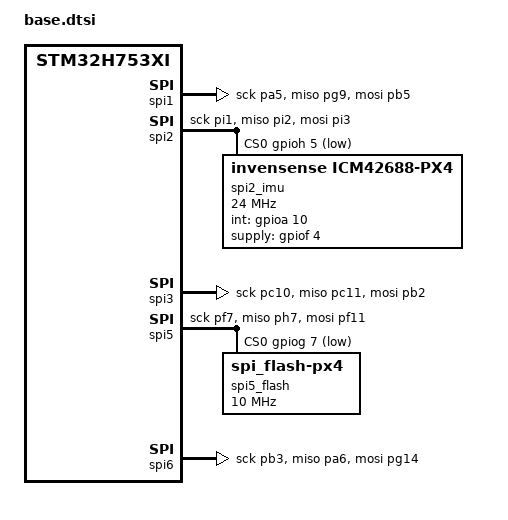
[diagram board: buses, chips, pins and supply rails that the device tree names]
/* Copyright (c) 2023 PX4 Development Team
 * SPDX-License-Identifier: BSD-3-Clause
 */

#include <st/h7/stm32h753Xi.dtsi>
#include <st/h7/stm32h753iikx-pinctrl.dtsi>

/ {
	compatible = "px4,fmu-v6x";

	chosen {
	/*
		px4,console = &usart3;
		px4,canbus = &can1;
	*/
	};
};



&spi1 {
	status = "okay";
	pinctrl-0 = <&spi1_sck_pa5 &spi1_miso_pg9 &spi1_mosi_pb5>;
	pinctrl-names = "default";
	cs-gpios = <&gpioi 9 GPIO_ACTIVE_LOW>;
	/* CS is shared, but devices depend on board versions */
};

&spi2 {
	status = "okay";
	pinctrl-0 = <&spi2_sck_pi1 &spi2_miso_pi2 &spi2_mosi_pi3>;
	pinctrl-names = "default";
	cs-gpios = <&gpioh 5 GPIO_ACTIVE_LOW>;

	spi2_imu: icm42688@0 {
		status = "okay";
		compatible = "invensense,icm42688-px4";
		spi-max-frequency = <24000000>;
		reg = <0>;
		int-gpios = <&gpioa 10 GPIO_ACTIVE_HIGH>;
		supply-gpios = <&gpiof 4 GPIO_ACTIVE_HIGH>;
	};
};

&spi3 {
	status = "okay";
	pinctrl-0 = <&spi3_sck_pc10 &spi3_miso_pc11 &spi3_mosi_pb2>;
	pinctrl-names = "default";
	cs-gpios = <&gpioi 8 GPIO_ACTIVE_LOW>,
			   <&gpioi 4 GPIO_ACTIVE_LOW>;
	/* board versions have different devices connected to this SPI */
};

&spi5 {
	status = "okay";
	pinctrl-0 = <&spi5_sck_pf7 &spi5_miso_ph7 &spi5_mosi_pf11>;
	pinctrl-names = "default";
	cs-gpios = <&gpiog 7 GPIO_ACTIVE_LOW>;

	/* generic SPI flash */
	spi5_flash: flash@0 {
		compatible = "spi_flash-px4";
		spi-max-frequency = <10000000>;
		reg = <0>;
	};
};

external_spi: &spi6 {
	status = "okay";
	pinctrl-0 = <&spi6_sck_pb3 &spi6_miso_pa6 &spi6_mosi_pg14>;
	pinctrl-names = "default";
	/* external SPI only has chip select pins defined */
	cs-gpios = <&gpioi 10 GPIO_ACTIVE_LOW>,
			   <&gpioa 15 GPIO_ACTIVE_LOW>;
	/* the data ready pins must be defined by the overlay
	int-gpios = <&gpiod 11 GPIO_ACTIVE_LOW>,
				<&gpiod 12 GPIO_ACTIVE_LOW>; */
};


/* UNUSED and IGNORED, defined only for compatibility with dts bindings */
&rcc {
	clocks = <&pll>;
	clock-frequency = <DT_FREQ_M(400)>;
	d1cpre = <1>;
	hpre = <1>;
	d1ppre = <1>;
	d2ppre1 = <1>;
	d2ppre2 = <1>;
	d3ppre = <1>;
};
